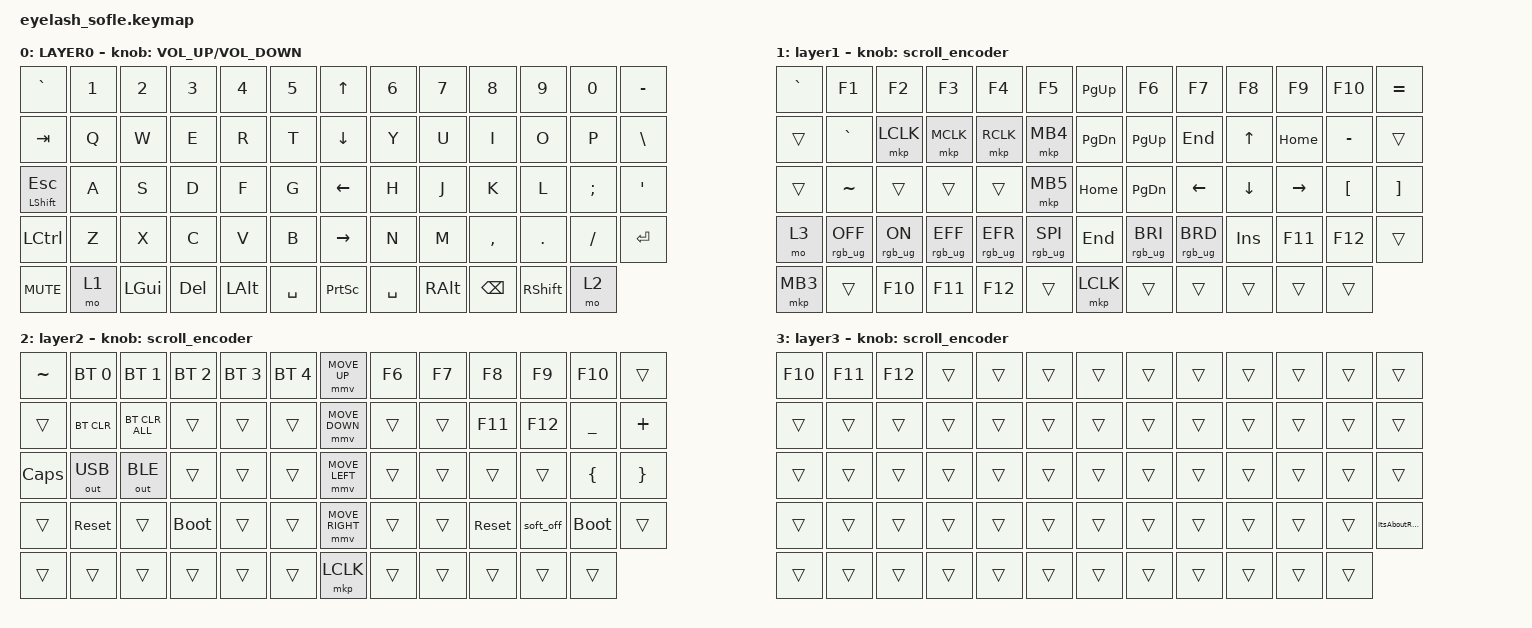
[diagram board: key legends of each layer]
#define ZMK_POINTING_DEFAULT_MOVE_VAL 1200  // 600
#define ZMK_POINTING_DEFAULT_SCRL_VAL 25   // 10

#include <input/processors.dtsi>
#include <zephyr/dt-bindings/input/input-event-codes.h>
#include <behaviors.dtsi>
#include <dt-bindings/zmk/bt.h>
#include <dt-bindings/zmk/keys.h>
#include <dt-bindings/zmk/outputs.h>
#include <dt-bindings/zmk/pointing.h>
#include <dt-bindings/zmk/rgb.h>

&mmv_input_listener { input-processors = <&zip_xy_scaler 2 1>; };

&msc_input_listener { input-processors = <&zip_scroll_scaler 2 1>; };

&msc {
    acceleration-exponent = <1>;      // 0
    time-to-max-speed-ms = <100>;       // 300
    delay-ms = <0>;                   // 0
};

&mmv {
    time-to-max-speed-ms = <500>;
    acceleration-exponent = <1>;
    trigger-period-ms = <16>;
};

&soft_off { hold-time-ms = <2000>; };

/ {
    scroll_encoder: scroll_encoder {
        compatible = "zmk,behavior-sensor-rotate";
        #sensor-binding-cells = <0>;
        bindings = <&msc SCRL_DOWN>, <&msc SCRL_UP>;

        tap-ms = <100>;
    };

    hml: hml {
        compatible = "zmk,behavior-hold-tap";
        label = "HML";
        bindings = <&kp>, <&kp>;

        #binding-cells = <2>;
        tapping-term-ms = <280>;
        quick-tap-ms = <175>;
        require-prior-idle-ms = <150>;
        flavor = "balanced";
        hold-trigger-key-positions = <6 7 8 9 10 11 12 19 20 21 22 23 24 25 33 34 35 36 37 38 45 46 47 48 49 50 51 58 59 60 61 62 63 32>;
    };

    behaviors {
    };

    combos {
        compatible = "zmk,combos";

        softoff {
            bindings = <&soft_off>;
            key-positions = <14 28 40>;
        };
    };

    macros {
        SHIFT_MCLK: SHIFT_MCLK {
            compatible = "zmk,behavior-macro";
            #binding-cells = <0>;
            bindings =
                <&macro_press>,
                <&kp LEFT_SHIFT>,
                <&macro_press>,
                <&mkp MB3>,
                <&macro_pause_for_release>,
                <&macro_release>,
                <&kp LEFT_SHIFT &mkp MB3>;

            label = "SHIFT_MCLK";
        };

        ItsAboutRocks: ItsAboutRocks {
            compatible = "zmk,behavior-macro";
            #binding-cells = <0>;
            bindings = <&kp LS(I) &kp T &kp LS(I) &kp S &kp AT &kp B &kp O &kp U &kp T &kp LS(R) &kp O &kp C &kp K &kp S &kp N9 &kp N7 &kp N2 &kp N2 &kp N8>;
            label = "ITSABOUTROCKS";
        };
    };

    keymap {
        compatible = "zmk,keymap";

        layer0 {
            bindings = <
&kp GRAVE          &kp N1  &kp N2        &kp N3      &kp N4    &kp N5       &kp UP_ARROW     &kp N6     &kp N7    &kp N8         &kp N9           &kp N0    &kp MINUS
&kp TAB            &kp Q   &kp W         &kp E       &kp R     &kp T        &kp DOWN_ARROW   &kp Y      &kp U     &kp I          &kp O            &kp P     &kp BSLH
&mt LSHIFT ESCAPE  &kp A   &kp S         &kp D       &kp F     &kp G        &kp LEFT_ARROW   &kp H      &kp J     &kp K          &kp L            &kp SEMI  &kp APOS
&kp LCTRL          &kp Z   &kp X         &kp C       &kp V     &kp B        &kp RIGHT_ARROW  &kp N      &kp M     &kp COMMA      &kp DOT          &kp FSLH  &kp ENTER
&kp C_MUTE         &mo 1   &kp LEFT_GUI  &kp DELETE  &kp LALT  &kp SPACE    &kp PRINTSCREEN  &kp SPACE  &kp RALT  &kp BACKSPACE  &kp RIGHT_SHIFT  &mo 2
            >;

            sensor-bindings = <&inc_dec_kp C_VOLUME_UP C_VOLUME_DOWN>;
            display-name = "LAYER0";
        };

        layer_1 {
            bindings = <
&kp GRAVE  &kp F1           &kp F2          &kp F3           &kp F4           &kp F5             &kp PAGE_UP    &kp F6           &kp F7           &kp F8      &kp F9     &kp F10           &kp EQUAL
&trans     &kp GRAVE        &mkp LCLK       &mkp MCLK        &mkp RCLK        &mkp MB4           &kp PAGE_DOWN  &kp PG_UP        &kp END          &kp UP      &kp HOME   &kp MINUS         &trans
&trans     &kp TILDE        &trans          &trans           &trans           &mkp MB5           &kp HOME       &kp PG_DN        &kp LEFT         &kp DOWN    &kp RIGHT  &kp LEFT_BRACKET  &kp RIGHT_BRACKET
&mo 3      &rgb_ug RGB_OFF  &rgb_ug RGB_ON  &rgb_ug RGB_EFF  &rgb_ug RGB_EFR  &rgb_ug RGB_SPI    &kp END        &rgb_ug RGB_BRI  &rgb_ug RGB_BRD  &kp INSERT  &kp F11    &kp F12           &trans
&mkp MB3   &trans           &kp F10         &kp F11          &kp F12          &trans             &mkp LCLK      &trans           &trans           &trans      &trans     &trans
            >;

            display-name = "layer1";
            sensor-bindings = <&scroll_encoder>;
        };

        layer_2 {
            bindings = <
&kp TILDE  &bt BT_SEL 0  &bt BT_SEL 1    &bt BT_SEL 2  &bt BT_SEL 3  &bt BT_SEL 4    &mmv MOVE_UP     &kp F6  &kp F7  &kp F8      &kp F9     &kp F10      &trans
&trans     &bt BT_CLR    &bt BT_CLR_ALL  &trans        &trans        &trans          &mmv MOVE_DOWN   &trans  &trans  &kp F11     &kp F12    &kp UNDER    &kp PLUS
&kp CAPS   &out OUT_USB  &out OUT_BLE    &trans        &trans        &trans          &mmv MOVE_LEFT   &trans  &trans  &trans      &trans     &kp LBRC     &kp RBRC
&trans     &sys_reset    &trans          &bootloader   &trans        &trans          &mmv MOVE_RIGHT  &trans  &trans  &sys_reset  &soft_off  &bootloader  &trans
&trans     &trans        &trans          &trans        &trans        &trans          &mkp LCLK        &trans  &trans  &trans      &trans     &trans
            >;

            display-name = "layer2";
            sensor-bindings = <&scroll_encoder>;
        };

        layer_3 {
            bindings = <
&kp F10  &kp F11  &kp F12  &trans  &trans  &trans    &trans  &trans  &trans  &trans  &trans  &trans  &trans
&trans   &trans   &trans   &trans  &trans  &trans    &trans  &trans  &trans  &trans  &trans  &trans  &trans
&trans   &trans   &trans   &trans  &trans  &trans    &trans  &trans  &trans  &trans  &trans  &trans  &trans
&trans   &trans   &trans   &trans  &trans  &trans    &trans  &trans  &trans  &trans  &trans  &trans  &ItsAboutRocks
&trans   &trans   &trans   &trans  &trans  &trans    &trans  &trans  &trans  &trans  &trans  &trans
            >;

            display-name = "layer3";
            sensor-bindings = <&scroll_encoder>;
        };
    };
};
